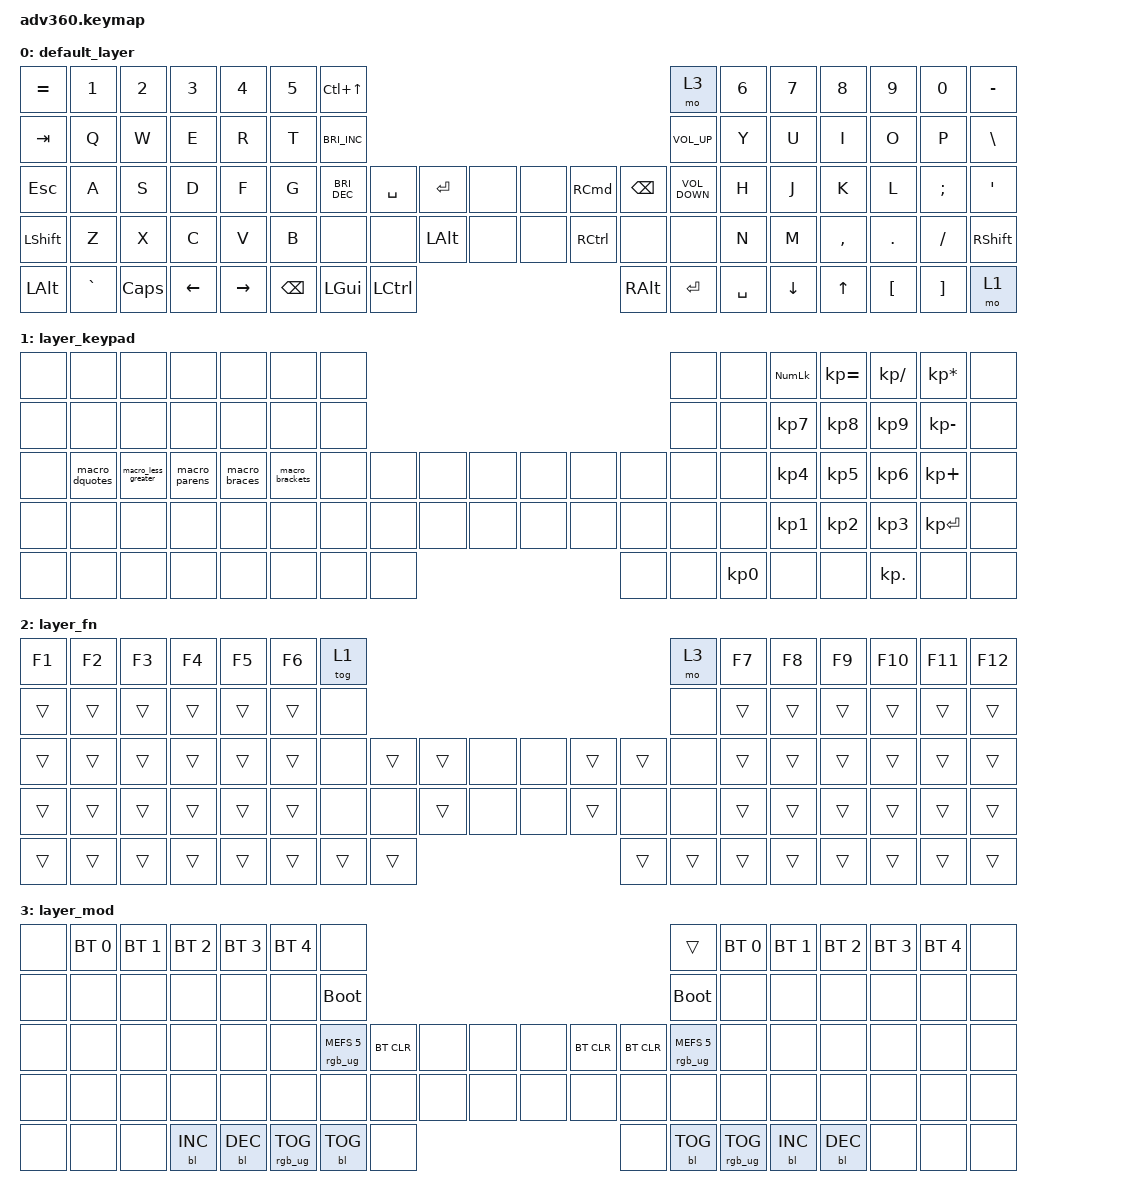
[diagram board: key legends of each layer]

/*
 * Copyright (c) 2020 The ZMK Contributors
 *
 * SPDX-License-Identifier: MIT
 */


/* THIS FILE WAS GENERATED!
 *
 * This file was generated automatically. You may or may not want to
 * edit it directly.
 */

#include <behaviors.dtsi>
#include <dt-bindings/zmk/keys.h>
#include <dt-bindings/zmk/bt.h>
#include <dt-bindings/zmk/rgb.h>
#include <dt-bindings/zmk/backlight.h>

/ {
  behaviors {
    #include "macros.dtsi"
    #include "version.dtsi"

    hm: homerow_mods {
        compatible = "zmk,behavior-hold-tap";
        label = "HOMEROW_MODS";
        #binding-cells = <2>;
        tapping-term-ms = <200>;
        quick_tap_ms = <175>;
        flavor = "tap-preferred";
        bindings = <&kp>, <&kp>;
    };
  };

    keymap {
        compatible = "zmk,keymap";


        default_layer {
            bindings = <
    &kp EQUAL     &kp N1    &kp N2    &kp N3     &kp N4  &kp N5                      &kp LC(UP)                                                                                             &mo 3  &kp N6    &kp N7     &kp N8    &kp N9    &kp N0  &kp MINUS
      &kp TAB      &kp Q     &kp W     &kp E      &kp R   &kp T            &kp C_BRIGHTNESS_INC                                                                                   &kp C_VOLUME_UP   &kp Y     &kp U      &kp I     &kp O     &kp P   &kp BSLH
      &kp ESC      &kp A     &kp S     &kp D      &kp F   &kp G            &kp C_BRIGHTNESS_DEC  &kp SPACE         &kp ENTER   &none   &none  &kp RIGHT_COMMAND  &kp BACKSPACE  &kp C_VOLUME_DOWN   &kp H     &kp J      &kp K     &kp L  &kp SEMI    &kp SQT
    &kp LSHFT      &kp Z     &kp X     &kp C      &kp V   &kp B                           &none      &none      &kp LEFT_ALT   &none   &none  &kp RIGHT_CONTROL          &none              &none   &kp N     &kp M  &kp COMMA   &kp DOT  &kp FSLH  &kp RSHFT
 &kp LEFT_ALT  &kp GRAVE  &kp CAPS  &kp LEFT  &kp RIGHT                                &kp BSPC   &kp LGUI  &kp LEFT_CONTROL                           &kp RALT      &kp ENTER          &kp SPACE          &kp DOWN     &kp UP  &kp LBKT  &kp RBKT      &mo 1
            >;
        };

        layer_keypad {
            bindings = <
  &none           &none                &none          &none          &none            &none            &none                                                      &none   &none  &kp KP_NUM  &kp KP_EQUAL  &kp KP_DIVIDE  &kp KP_MULTIPLY   &none
  &none           &none                &none          &none          &none            &none            &none                                                      &none   &none   &kp KP_N7     &kp KP_N8      &kp KP_N9     &kp KP_MINUS   &none
  &none  &macro_dquotes  &macro_less_greater  &macro_parens  &macro_braces  &macro_brackets            &none   &none   &none   &none   &none   &none   &none      &none   &none   &kp KP_N4     &kp KP_N5      &kp KP_N6      &kp KP_PLUS   &none
  &none           &none                &none          &none          &none            &none            &none   &none   &none   &none   &none   &none   &none      &none   &none   &kp KP_N1     &kp KP_N2      &kp KP_N3     &kp KP_ENTER   &none
  &none           &none                &none          &none          &none                             &none   &none   &none                   &none   &none  &kp KP_N0               &none         &none     &kp KP_DOT            &none   &none
            >;
        };

        layer_fn {
            bindings = <
 &kp F1  &kp F2  &kp F3  &kp F4  &kp F5  &kp F6            &tog 1                                                   &mo 3  &kp F7  &kp F8  &kp F9  &kp F10  &kp F11  &kp F12
 &trans  &trans  &trans  &trans  &trans  &trans             &none                                                   &none  &trans  &trans  &trans   &trans   &trans   &trans
 &trans  &trans  &trans  &trans  &trans  &trans             &none  &trans  &trans   &none   &none  &trans  &trans   &none  &trans  &trans  &trans   &trans   &trans   &trans
 &trans  &trans  &trans  &trans  &trans  &trans             &none   &none  &trans   &none   &none  &trans   &none   &none  &trans  &trans  &trans   &trans   &trans   &trans
 &trans  &trans  &trans  &trans  &trans                    &trans  &trans  &trans                  &trans  &trans  &trans          &trans  &trans   &trans   &trans   &trans
            >;
        };

        layer_mod {
            bindings = <
  &none  &bt BT_SEL 0  &bt BT_SEL 1  &bt BT_SEL 2  &bt BT_SEL 3  &bt BT_SEL 4                             &none                                                                              &trans  &bt BT_SEL 0  &bt BT_SEL 1  &bt BT_SEL 2  &bt BT_SEL 3  &bt BT_SEL 4   &none
  &none         &none         &none         &none         &none         &none                       &bootloader                                                                         &bootloader         &none         &none         &none         &none         &none   &none
  &none         &none         &none         &none         &none         &none            &rgb_ug RGB_MEFS_CMD 5  &bt BT_CLR   &none   &none   &none  &bt BT_CLR  &bt BT_CLR  &rgb_ug RGB_MEFS_CMD 5         &none         &none         &none         &none         &none   &none
  &none         &none         &none         &none         &none         &none                             &none       &none   &none   &none   &none       &none       &none                   &none         &none         &none         &none         &none         &none   &none
  &none         &none         &none    &bl BL_INC    &bl BL_DEC                                 &rgb_ug RGB_TOG  &bl BL_TOG   &none                       &none  &bl BL_TOG         &rgb_ug RGB_TOG                  &bl BL_INC    &bl BL_DEC         &none         &none   &none
            >;
        };

    };
};
